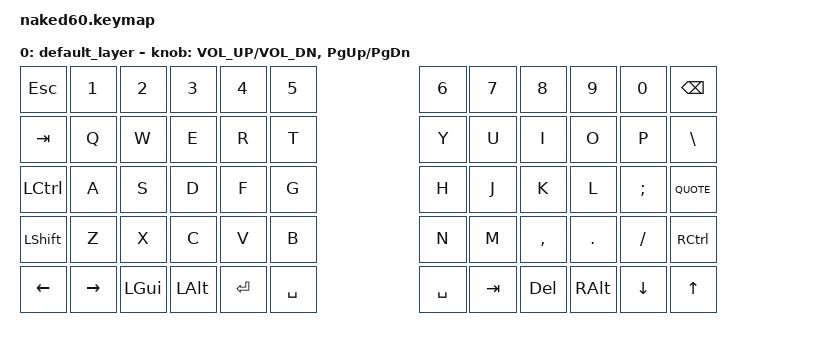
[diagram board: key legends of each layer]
#include <behaviors.dtsi>
#include <dt-bindings/zmk/keys.h>

/ {
    keymap {
        compatible = "zmk,keymap";

        default_layer {
// --------------------------------------------------------------------------------------------------------------------------------------------------------------------
// |   ESC   |    Q    |    W    |    E    |    R    |    T    |                                          |    Y    |    U    |    I    |    O    |    P    |    \    |
// |   TAB   |    A    |    S    |    D    |    F    |    G    |                                          |    H    |    J    |    K    |    L    |    ;    |    '    |
// |  SHIFT  |    Z    |    X    |    C    |    V    |    B    | CTRL+A  | CTRL+C  |  |  CTRL+V |  CTRL+X |    N    |    M    |    ,    |    .    |    /    |  R CTRL |
//                               |   GUI   |   DEL   | RETURN  |  SPACE  | ESCAPE  |  |  RETURN |  SPACE  |   TAB   |   BSPC  |  R ALT  |
            bindings = <
    &kp ESC   &kp N1    &kp N2    &kp N3    &kp N4    &kp N5                           &kp N6    &kp N7    &kp N8    &kp N9    &kp N0   &kp BSPC
    &kp TAB   &kp Q     &kp W     &kp E     &kp R     &kp T                            &kp Y     &kp U     &kp I     &kp O     &kp P    &kp BSLH
    &kp LCTRL &kp A     &kp S     &kp D     &kp F     &kp G                            &kp H     &kp J     &kp K     &kp L     &kp SEMI &kp QUOTE
    &kp LSHFT &kp Z     &kp X     &kp C     &kp V     &kp B                            &kp N     &kp M     &kp COMMA &kp DOT   &kp FSLH &kp RCTRL
              &kp LEFT  &kp RIGHT &kp LGUI  &kp LALT  &kp RET   &kp SPACE  &kp SPACE   &kp TAB   &kp DEL   &kp RALT  &kp DOWN  &kp UP
            >;

            sensor-bindings = <&inc_dec_kp C_VOL_UP C_VOL_DN &inc_dec_kp PG_UP PG_DN>;
        };
    };
};
